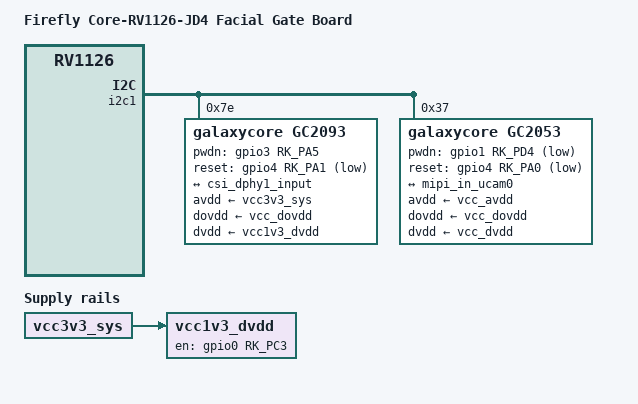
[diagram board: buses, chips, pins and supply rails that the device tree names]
// SPDX-License-Identifier: (GPL-2.0+ OR MIT)
/*
 * Copyright (c) 2020 Rockchip Electronics Co., Ltd.
 */
/dts-v1/;
#include "rv1126.dtsi"
#include "rv1126-firefly-jd4.dtsi"
#include "rv1109-firefly-dual-cam-isp.dtsi"

/ {
	model = "Firefly Core-RV1126-JD4 Facial Gate Board";
	compatible = "rockchip,rv1126-evb-ddr3-v12", "rockchip,rv1126";

	chosen {
		bootargs = "earlycon=uart8250,mmio32,0xff570000 console=ttyFIQ0 root=PARTUUID=614e0000-0000 rootfstype=ext4 rootwait snd_aloop.index=7";
	};

	vcc1v3_dvdd: vcc1v3-dvdd {
		compatible = "regulator-fixed";
		gpio = <&gpio0 RK_PC3 GPIO_ACTIVE_HIGH>;
		pinctrl-0 = <&vcc1v3_dvdd_ctl>;
		pinctrl-names = "default";
		regulator-name = "vcc1v3_dvdd";
		vin-supply = <&vcc3v3_sys>;
		enable-active-high;
                regulator-always-on;
	};

};


&i2c1 {
	status = "okay";

	/delete-node/ os04a10@36;

        gc2093: gc2093@7e {

		compatible = "galaxycore,gc2093";
                reg = <0x7e>;
                clocks = <&cru CLK_MIPICSI_OUT>;
                clock-names = "xvclk";
                power-domains = <&power RV1126_PD_VI>;
                pinctrl-names = "default";
                pinctrl-0 = <&mipicsi_clk1>;
                avdd-supply = <&vcc3v3_sys>;
		dovdd-supply = <&vcc_dovdd>;
		dvdd-supply = <&vcc1v3_dvdd>;

		pwdn-gpios = <&gpio3 RK_PA5 GPIO_ACTIVE_HIGH>;
		reset-gpios = <&gpio4 RK_PA1 GPIO_ACTIVE_LOW>;

		rockchip,camera-module-index = <1>;
                rockchip,camera-module-facing = "front";
                rockchip,camera-module-name = "YT-RV1109-2-V1";
                rockchip,camera-module-lens-name = "40IR-2MP-F20";
                port {
                        ucam_out1: endpoint {
                                remote-endpoint = <&csi_dphy1_input>;
                                data-lanes = <1 2>;
                        };
                };
        };

	gc2053: gc2053@37 {
		compatible = "galaxycore,gc2053";
		reg = <0x37>;

		clocks = <&cru CLK_MIPICSI_OUT>;
		clock-names = "xvclk";

		power-domains = <&power RV1126_PD_VI>;
		pinctrl-names = "rockchip,camera_default";
		pinctrl-0 = <&mipicsi_clk0>;
		//power-gpios = <&gpio3 RK_PA6 GPIO_ACTIVE_HIGH>;
		pwdn-gpios = <&gpio1 RK_PD4 GPIO_ACTIVE_LOW>;
		reset-gpios = <&gpio4 RK_PA0 GPIO_ACTIVE_LOW>;

		avdd-supply = <&vcc_avdd>;
		dovdd-supply = <&vcc_dovdd>;
		dvdd-supply = <&vcc_dvdd>;

		rockchip,camera-module-index = <0>;
		rockchip,camera-module-facing = "front";
		rockchip,camera-module-name = "YT-RV1109-2-V1";
		rockchip,camera-module-lens-name = "40IR-2MP-F20";
		port {
			ucam_out0: endpoint {
				remote-endpoint = <&mipi_in_ucam0>;
				data-lanes = <1 2>;
			};
		};

	};
};

&pinctrl {
	csi_ctl {
		vcc1v3_dvdd_ctl: vcc1v3-dvdd-ctl {
			rockchip,pins =
				<0 RK_PC3 RK_FUNC_GPIO &pcfg_pull_up>;
		};
	};
};
